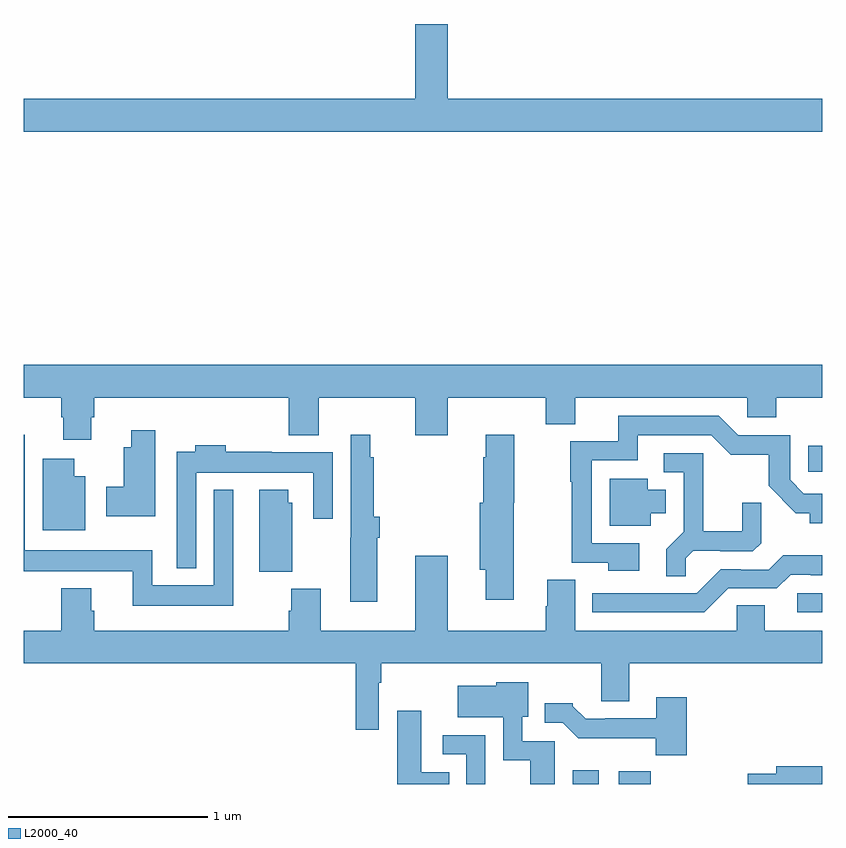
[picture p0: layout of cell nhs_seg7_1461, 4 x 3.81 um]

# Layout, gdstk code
import gdstk
lib = gdstk.Library(unit=1e-6, precision=1e-09)
def R(c, l, rs):  # rectangles x0, y0, x1, y1
    for r in rs: c.add(gdstk.rectangle(r[:2], r[2:], *l))
def P(c, l, *ps):  # polygons
    for p in ps: c.add(gdstk.Polygon(p, *l))
L2000_40 = (2000, 40)

nhs_seg7_1461 = lib.new_cell('nhs_seg7_1461')
R(nhs_seg7_1461, L2000_40, [(213.749,1012,213.88,1012.069), (213.98,1012,214.142,1012.063), (214.875,1012.86,215,1012.956), (214.929,1013.565,215,1013.694)])
P(nhs_seg7_1461, L2000_40, [(215,1015.432),(213.124,1015.432),(213.124,1015.807),(212.96,1015.807),(212.96,1015.432),(211,1015.432),(211,1015.268),(215,1015.268)],
  [(211.339,1013.838),(211.352,1013.838),(211.352,1013.936),(212.327,1013.936),(212.327,1013.747),(212.479,1013.747),(212.479,1013.936),(212.96,1013.936),(212.96,1013.748),(213.124,1013.748),(213.124,1013.936),(213.616,1013.936),(213.616,1013.803),(213.763,1013.803),(213.763,1013.936),(214.623,1013.936),(214.623,1013.838),(214.77,1013.838),(214.77,1013.936),(215,1013.936),(215,1014.1),(211,1014.1),(211,1013.936),(211.187,1013.936),(211.187,1013.838),(211.199,1013.838),(211.199,1013.724),(211.339,1013.724)],
  [(214.084,1013.205),(213.846,1013.205),(213.846,1013.622),(214.075,1013.622),(214.075,1013.748),(214.443,1013.748),(214.542,1013.65),(214.731,1013.65),(214.731,1013.494),(214.868,1013.357),(214.938,1013.357),(214.938,1013.307),(215,1013.307),(215,1013.454),(214.908,1013.454),(214.839,1013.523),(214.839,1013.748),(214.578,1013.748),(214.482,1013.844),(213.977,1013.844),(213.977,1013.718),(213.738,1013.718),(213.738,1013.515),(213.745,1013.515),(213.745,1013.109),(213.928,1013.109),(213.928,1013.069),(214.084,1013.069)],
  [(211.66,1013.773),(211.538,1013.773),(211.538,1013.686),(211.502,1013.686),(211.502,1013.49),(211.413,1013.49),(211.413,1013.342),(211.66,1013.342)],
  [(212.05,1013.473),(211.953,1013.473),(211.953,1012.996),(211.644,1012.996),(211.644,1013.17),(211.005,1013.17),(211.005,1013.749),(211,1013.749),(211,1013.066),(211.547,1013.066),(211.547,1012.892),(212.05,1012.892)],
  [(212.77,1013.234),(212.783,1013.234),(212.783,1013.338),(212.753,1013.338),(212.753,1013.636),(212.736,1013.636),(212.736,1013.749),(212.637,1013.749),(212.637,1013.234),(212.636,1013.234),(212.636,1012.914),(212.77,1012.914)],
  [(213.454,1013.409),(213.456,1013.409),(213.456,1013.749),(213.314,1013.749),(213.314,1013.636),(213.302,1013.636),(213.302,1013.409),(213.284,1013.409),(213.284,1013.073),(213.314,1013.073),(213.314,1012.923),(213.454,1012.923)],
  [(211.863,1013.558),(212.451,1013.558),(212.451,1013.328),(212.547,1013.328),(212.547,1013.662),(212.243,1013.662),(212.243,1013.665),(212.012,1013.665),(212.012,1013.698),(211.859,1013.698),(211.859,1013.665),(211.767,1013.665),(211.767,1013.081),(211.863,1013.081)],
  [(214.317,1013.132),(214.354,1013.169),(214.488,1013.169),(214.488,1013.166),(214.653,1013.166),(214.694,1013.207),(214.694,1013.409),(214.6,1013.409),(214.6,1013.266),(214.403,1013.266),(214.403,1013.658),(214.206,1013.658),(214.206,1013.562),(214.305,1013.562),(214.305,1013.263),(214.219,1013.177),(214.219,1013.041),(214.317,1013.041)],
  [(211.309,1013.542),(211.252,1013.542),(211.252,1013.629),(211.094,1013.629),(211.094,1013.27),(211.309,1013.27)],
  [(214.141,1013.357),(214.216,1013.357),(214.216,1013.473),(214.126,1013.473),(214.126,1013.53),(213.935,1013.53),(213.935,1013.294),(214.141,1013.294)],
  [(212.344,1013.409),(212.326,1013.409),(212.326,1013.473),(212.18,1013.473),(212.18,1013.062),(212.344,1013.062)],
  [(214.53,1012.98),(214.773,1012.98),(214.842,1013.049),(214.942,1013.049),(214.942,1013.046),(215,1013.046),(215,1013.146),(214.804,1013.146),(214.731,1013.073),(214.592,1013.073),(214.592,1013.076),(214.491,1013.076),(214.371,1012.956),(213.848,1012.956),(213.848,1012.86),(214.41,1012.86)],
  [(212.778,1012.508),(212.791,1012.508),(212.791,1012.604),(213.893,1012.604),(213.893,1012.414),(214.033,1012.414),(214.033,1012.604),(215,1012.604),(215,1012.768),(214.711,1012.768),(214.711,1012.895),(214.572,1012.895),(214.572,1012.768),(213.763,1012.768),(213.763,1013.024),(213.623,1013.024),(213.623,1012.89),(213.616,1012.89),(213.616,1012.768),(213.124,1012.768),(213.124,1013.143),(212.96,1013.143),(212.96,1012.768),(212.487,1012.768),(212.487,1012.977),(212.339,1012.977),(212.339,1012.868),(212.327,1012.868),(212.327,1012.768),(211.352,1012.768),(211.352,1012.869),(211.339,1012.869),(211.339,1012.981),(211.187,1012.981),(211.187,1012.768),(211,1012.768),(211,1012.604),(212.662,1012.604),(212.662,1012.272),(212.778,1012.272)],
  [(213.661,1012.215),(213.498,1012.215),(213.498,1012.338),(213.526,1012.338),(213.526,1012.51),(213.366,1012.51),(213.366,1012.492),(213.174,1012.492),(213.174,1012.334),(213.402,1012.334),(213.402,1012.118),(213.536,1012.118),(213.536,1012),(213.661,1012)],
  [(214.322,1012.435),(214.169,1012.435),(214.169,1012.329),(213.913,1012.329),(213.913,1012.326),(213.814,1012.326),(213.75,1012.39),(213.75,1012.405),(213.611,1012.405),(213.611,1012.308),(213.699,1012.308),(213.778,1012.23),(214.167,1012.23),(214.167,1012.145),(214.322,1012.145)],
  [(213.131,1012.06),(212.992,1012.06),(212.992,1012.366),(212.87,1012.366),(212.87,1012),(213.131,1012)],
  [(213.312,1012.245),(213.099,1012.245),(213.099,1012.149),(213.216,1012.149),(213.216,1012),(213.312,1012)],
  [(215,1012.088),(214.769,1012.088),(214.769,1012.052),(214.627,1012.052),(214.627,1012),(215,1012)])

lib.write_gds('nhs_seg7_1461.gds')
